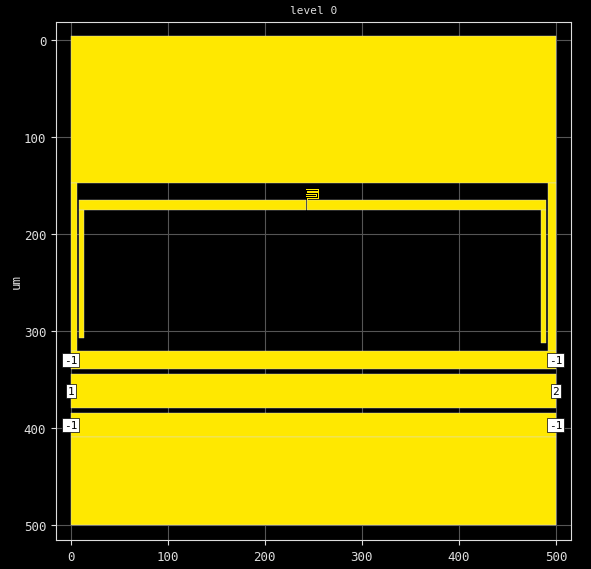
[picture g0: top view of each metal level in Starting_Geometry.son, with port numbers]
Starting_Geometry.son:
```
FTYP SONPROJ 18 ! Sonnet Project File
VER 18.58
HEADER
LIC maynooth60.1.87150
DAT 8/5/2024 17:18:41
BUILT_BY_CREATED xgeom 13.52 04/05/2012 11:22:39
BUILT_BY_SAVED Sonnet Matlab Interface v7.4
MDATE 08/05/2024 17:17:17
HDATE 08/05/2024 17:17:17
END HEADER
DIM
ANG DEG
CAP PF
CON /OH
FREQ GHZ
IND NH
LNG UM
RES OH
END DIM
CONTROL
VARSWP
OPTIONS -dj
SPEED 2
CACHE_ABS 1
Q_ACC Y
DET_ABS_RES Y
END CONTROL
GEO
TMET "Lossless" 0 SUP 0 0 0 0
BMET "Lossless" 0 SUP 0 0 0 0
MET "superconductor" 1 SUP 0 0 0 5
MET "TiN multi" 2 SUP 0 0 0 5
MET "thick Ta" 3 SUP 0 0 0 0.001
BOX 1 500 500 1000 1000 20 0
      200 1 1 0 0 0 0 "Unnamed"
      450 11.8 1 0 0 0 0 "Unnamed"
LORGN 0 500 U
POR1 BOX
POLY 690 1
1
-1 50 0 0 0 500 396.5
POR1 BOX
POLY 690 1
3
-1 50 0 0 0 0 396.5
POR1 BOX
POLY 693 1
3
-1 50 0 0 0 0 329.5
POR1 BOX
POLY 693 1
1
-1 50 0 0 0 500 329.5
POR1 BOX
POLY 695 1
3
1 50 0 0 0 0 361.5
POR1 BOX
POLY 695 1
1
2 50 0 0 0 500 361.5
NUM 24
0 5 0 N 555 1 1 100 100 0 0 0 Y
244 156
245 156
245 157
244 157
244 156
END
0 5 0 N 557 1 1 100 100 0 0 0 Y
255 158
256 158
256 164
255 164
255 158
END
0 5 0 N 559 1 1 100 100 0 0 0 Y
242 154
243 154
243 160
242 160
242 154
END
0 5 0 N 560 1 1 100 100 0 0 0 Y
244 157
256 157
256 158
244 158
244 157
END
0 5 0 N 561 1 1 100 100 0 0 0 Y
243 159
254 159
254 160
243 160
243 159
END
0 5 0 N 563 1 1 100 100 0 0 0 Y
243 161
254 161
254 162
243 162
243 161
END
0 5 0 N 564 1 1 100 100 0 0 0 Y
244 164
245 164
245 165
244 165
244 164
END
0 5 0 N 565 1 1 100 100 0 0 0 Y
253 160
254 160
254 161
253 161
253 160
END
0 5 0 N 571 1 1 100 100 0 0 0 Y
242 161
243 161
243 175
242 175
242 161
END
0 5 0 N 671 1 1 100 100 0 0 0 Y
244 163
255 163
255 164
244 164
244 163
END
0 5 0 N 689 1 1 100 100 0 0 0 Y
0 -4
500 -4
500 147
0 147
0 -4
END
0 5 0 N 690 1 1 100 100 0 0 0 Y
0 384
500 384
500 409
0 409
0 384
END
0 5 0 N 691 1 1 100 100 0 0 0 Y
492 147
500 147
500 320
492 320
492 147
END
0 5 0 N 692 1 1 100 100 0 0 0 Y
0 147
7 147
7 320
0 320
0 147
END
0 5 0 N 693 1 1 100 100 0 0 0 Y
0 320
500 320
500 339
0 339
0 320
END
0 5 0 N 695 1 1 100 100 0 0 0 Y
0 344
500 344
500 379
0 379
0 344
END
0 5 0 N 696 1 1 100 100 0 0 0 Y
0 409
500 409
500 500
0 500
0 409
END
0 5 0 N 697 1 1 100 100 0 0 0 Y
9 165
242 165
242 175
9 175
9 165
END
0 5 0 N 698 1 1 100 100 0 0 0 Y
244 165
490 165
490 175
244 175
244 165
END
0 5 0 N 758 1 1 100 100 0 0 0 Y
242 153
255 153
255 154
242 154
242 153
END
0 5 0 N 759 1 1 100 100 0 0 0 Y
244 155
255 155
255 156
244 156
244 155
END
0 5 0 N 761 1 1 100 100 0 0 0 Y
255 153
256 153
256 156
255 156
255 153
END
0 5 0 N 783 1 1 100 100 0 0 0 Y
9 175
14 175
14 307
9 307
9 175
END
0 5 0 N 188 1 1 100 100 0 0 0 Y
485 175
490 175
490 312
485 312
485 175
END
END GEO
OPT
MAX 100
END OPT
VARSWP
END VARSWP
FILEOUT
FOLDER .
END FILEOUT
TRANSLATOR
GDSEXPORT
UseTLs true
SepObj false
SepMat true
DivideMulti false
Circles false
CircleType inscribed
CircleSize 0
KeepMetals true
KeepVias false
KeepViaPads false
KeepBricks true
KeepEdgeVias false
KeepParent false
ConvertParent false
AllEdgeViasAsVia false
END
END TRANSLATOR
```
